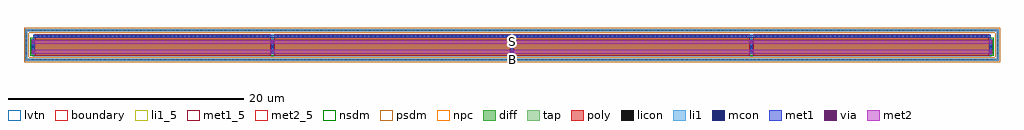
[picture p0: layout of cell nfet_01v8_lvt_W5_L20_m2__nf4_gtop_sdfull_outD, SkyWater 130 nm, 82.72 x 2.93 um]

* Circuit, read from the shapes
.subckt nfet_01v8_lvt_W5_L20_m2__nf4_gtop_sdfull_outD B D G S
XM1 S G D B sky130_fd_pr__nfet_01v8_lvt w=1.25 l=20 m=4
.ends

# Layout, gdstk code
import gdstk
lib = gdstk.Library(unit=1e-6, precision=1e-09)
def R(c, l, rs):  # rectangles x0, y0, x1, y1
    for r in rs: c.add(gdstk.rectangle(r[:2], r[2:], *l))
def A(c, l, x, y, w, h, nx, ny, dx, dy):  # array of equal rectangles
    R(c, l, [(x+i*dx, y+j*dy, x+i*dx+w, y+j*dy+h) for i in range(nx) for j in range(ny)])
diff = (65, 20)
tap = (65, 44)
poly = (66, 20)
licon = (66, 44)
li1_5 = (67, 5)
li1 = (67, 20)
mcon = (67, 44)
met1_5 = (68, 5)
met1 = (68, 20)
via = (68, 44)
met2_5 = (69, 5)
met2 = (69, 20)
nsdm = (93, 44)
psdm = (94, 20)
npc = (95, 20)
lvtn = (125, 44)
boundary = (235, 4)

sky130_fd_pr__nfet_01v8_ = lib.new_cell('sky130_fd_pr__nfet_01v8_lvt_4RWNTH')
R(sky130_fd_pr__nfet_01v8_, diff, [(-40.725,-0.78,40.725,0.47)])
R(sky130_fd_pr__nfet_01v8_, tap, [(-41.235,-1.34,41.235,-1.17), (-41.235,-1.17,-41.065,1.17), (41.065,-1.17,41.235,1.17), (-41.235,1.17,41.235,1.34)])
A(sky130_fd_pr__nfet_01v8_, poly, -40.435, -0.91, 20, 1.82, 4, 1, 20.29, 0)
A(sky130_fd_pr__nfet_01v8_, licon, -40.715, -1.34, 0.17, 0.17, 240, 2, 0.34, 2.51)
A(sky130_fd_pr__nfet_01v8_, licon, -41.235, -0.765, 0.17, 0.17, 1, 5, 0, 0.34)
A(sky130_fd_pr__nfet_01v8_, licon, 41.065, -0.765, 0.17, 0.17, 1, 5, 0, 0.34)
A(sky130_fd_pr__nfet_01v8_, licon, -40.665, -0.58, 0.17, 0.17, 5, 3, 20.29, 0.34)
A(sky130_fd_pr__nfet_01v8_, licon, -40.21, 0.66, 0.17, 0.17, 58, 1, 0.34, 0)
A(sky130_fd_pr__nfet_01v8_, licon, -19.92, 0.66, 0.17, 0.17, 58, 1, 0.34, 0)
A(sky130_fd_pr__nfet_01v8_, licon, 0.37, 0.66, 0.17, 0.17, 58, 1, 0.34, 0)
A(sky130_fd_pr__nfet_01v8_, licon, 20.66, 0.66, 0.17, 0.17, 58, 1, 0.34, 0)
A(sky130_fd_pr__nfet_01v8_, li1, -40.665, -0.8, 0.17, 1.29, 5, 1, 20.29, 0)
R(sky130_fd_pr__nfet_01v8_, li1, [(-41.235,-1.34,41.235,-1.17), (-41.235,-1.17,-41.065,1.17), (41.065,-1.17,41.235,1.17), (-40.58,0.66,40.58,0.83), (-41.235,1.17,41.235,1.34)])
A(sky130_fd_pr__nfet_01v8_, mcon, -40.665, -0.6, 0.17, 0.17, 5, 3, 20.29, 0.36)
A(sky130_fd_pr__nfet_01v8_, mcon, -40.24, 0.66, 0.17, 0.17, 55, 1, 0.36, 0)
A(sky130_fd_pr__nfet_01v8_, mcon, -19.95, 0.66, 0.17, 0.17, 55, 1, 0.36, 0)
A(sky130_fd_pr__nfet_01v8_, mcon, 0.34, 0.66, 0.17, 0.17, 55, 1, 0.36, 0)
A(sky130_fd_pr__nfet_01v8_, mcon, 20.63, 0.66, 0.17, 0.17, 55, 1, 0.36, 0)
A(sky130_fd_pr__nfet_01v8_, met1, -40.695, -0.78, 0.23, 1.25, 5, 1, 20.29, 0)
A(sky130_fd_pr__nfet_01v8_, met1, -40.415, 0.63, 19.96, 0.03, 4, 2, 20.29, 0.2)
R(sky130_fd_pr__nfet_01v8_, met1, [(-40.58,0.66,40.58,0.83)])
R(sky130_fd_pr__nfet_01v8_, nsdm, [(-40.85,-0.905,40.85,0.595)])
R(sky130_fd_pr__nfet_01v8_, psdm, [(-41.36,-1.465,41.36,-1.045), (-41.36,-1.045,-40.94,1.045), (40.94,-1.045,41.36,1.045), (-41.36,1.045,41.36,1.465)])
A(sky130_fd_pr__nfet_01v8_, npc, -40.31, 0.56, 19.75, 0.37, 4, 1, 20.29, 0)
R(sky130_fd_pr__nfet_01v8_, lvtn, [(-40.615,-0.96,40.615,0.65)])
R(sky130_fd_pr__nfet_01v8_, boundary, [(-41.15,-1.255,41.15,1.255)])
sky130_fd_pr__nfet_01v8_.add(gdstk.Label('B', (0,-1.255), layer=67, texttype=5))
sky130_fd_pr__nfet_01v8_.add(gdstk.Label('D0', (-40.58,-0.155), layer=67, texttype=5))
sky130_fd_pr__nfet_01v8_.add(gdstk.Label('G', (30.435,0.745), layer=67, texttype=5))
sky130_fd_pr__nfet_01v8_.add(gdstk.Label('G', (10.145,0.745), layer=67, texttype=5))
sky130_fd_pr__nfet_01v8_.add(gdstk.Label('G', (-10.145,0.745), layer=67, texttype=5))
sky130_fd_pr__nfet_01v8_.add(gdstk.Label('G', (-30.435,0.745), layer=67, texttype=5))
sky130_fd_pr__nfet_01v8_.add(gdstk.Label('S1', (-20.29,-0.155), layer=67, texttype=5))
sky130_fd_pr__nfet_01v8_.add(gdstk.Label('D2', (0,-0.155), layer=67, texttype=5))
sky130_fd_pr__nfet_01v8_.add(gdstk.Label('S3', (20.29,-0.155), layer=67, texttype=5))

nfet_01v8_lvt_w5_l20_m2_ = lib.new_cell('nfet_01v8_lvt_W5_L20_m2__nf4_gtop_sdfull_outD')
R(nfet_01v8_lvt_w5_l20_m2_, li1_5, [(41.065,-0.085,41.235,0.085)])
R(nfet_01v8_lvt_w5_l20_m2_, li1, [(41.065,-0.085,41.235,0.085)])
R(nfet_01v8_lvt_w5_l20_m2_, met1_5, [(0.57,1.885,81.73,2.115)])
A(nfet_01v8_lvt_w5_l20_m2_, met1, 0.44, 0.525, 0.26, 0.32, 3, 1, 40.58, 0)
R(nfet_01v8_lvt_w5_l20_m2_, met1, [(20.73,1.355,20.99,1.675), (61.31,1.355,61.57,1.675), (0.57,1.885,81.73,2.115)])
A(nfet_01v8_lvt_w5_l20_m2_, via, 0.495, 0.61, 0.15, 0.15, 3, 1, 40.58, 0)
R(nfet_01v8_lvt_w5_l20_m2_, via, [(20.785,1.44,20.935,1.59), (61.365,1.44,61.515,1.59)])
R(nfet_01v8_lvt_w5_l20_m2_, met2_5, [(0.435,0.525,81.865,0.845), (0.435,1.355,81.865,1.675)])
R(nfet_01v8_lvt_w5_l20_m2_, met2, [(0.435,0.525,81.865,0.845), (0.435,1.355,81.865,1.675)])
nfet_01v8_lvt_w5_l20_m2_.add(gdstk.Reference(sky130_fd_pr__nfet_01v8_, (41.15,1.255)))
nfet_01v8_lvt_w5_l20_m2_.add(gdstk.Label('S', (41.15,1.515), layer=69, texttype=5))
nfet_01v8_lvt_w5_l20_m2_.add(gdstk.Label('D', (41.15,0.685), layer=69, texttype=5))
nfet_01v8_lvt_w5_l20_m2_.add(gdstk.Label('G', (41.15,2), layer=68, texttype=5))
nfet_01v8_lvt_w5_l20_m2_.add(gdstk.Label('B', (41.15,0), layer=67, texttype=5))

lib.write_gds('nfet_01v8_lvt_W5_L20_m2__nf4_gtop_sdfull_outD.gds')
